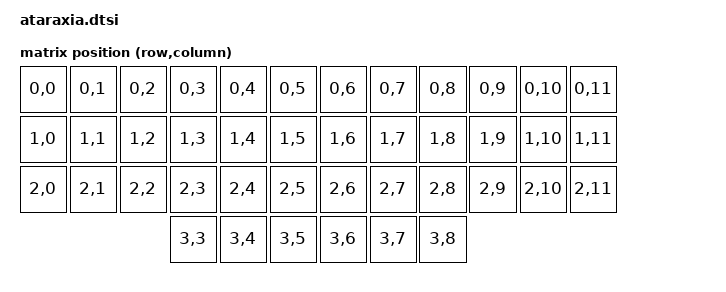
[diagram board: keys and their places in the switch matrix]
#include <dt-bindings/zmk/matrix_transform.h>
#include <physical_layouts.dtsi>
#include <input/processors.dtsi>

&spi1 {
	status = "okay";    
    compatible = "nordic,nrf-spim";
    pinctrl-0 = <&spi1_default>;
    pinctrl-1 = <&spi1_sleep>;
    pinctrl-names = "default", "sleep";

	cs-gpios = <&pro_micro 5 GPIO_ACTIVE_LOW>; // Pin 0.24 (pin 5) for CS (Chip Select), active low

	  shifter: 595@0 {
		    compatible = "zmk,gpio-595";
		    status = "okay";
		    gpio-controller;
		    spi-max-frequency = <200000>;
		    reg = <0>;
		    #gpio-cells = <2>;
		    ngpios = <8>;
    };
};


/ {
	chosen {
		zmk,physical-layout = &layout_ataraxia;
	};
   
	default_transform: keymap_transform_0 {
		compatible = "zmk,matrix-transform";
		columns = <12>;
		rows = <4>;
		
    map = <
    RC(0,0) RC(0,1) RC(0,2) RC(0,3) RC(0,4) RC(0,5) RC(0,6) RC(0,7) RC(0,8) RC(0,9) RC(0,10) RC(0,11)
    RC(1,0) RC(1,1) RC(1,2) RC(1,3) RC(1,4) RC(1,5) RC(1,6) RC(1,7) RC(1,8) RC(1,9) RC(1,10) RC(1,11)
    RC(2,0) RC(2,1) RC(2,2) RC(2,3) RC(2,4) RC(2,5) RC(2,6) RC(2,7) RC(2,8) RC(2,9) RC(2,10) RC(2,11)
                            RC(3,3) RC(3,4) RC(3,5) RC(3,6) RC(3,7) RC(3,8)
		>;
	};


	layout_ataraxia: layout_ataraxia {
		compatible = "zmk,physical-layout";
		display-name = "ataraxia";
		transform = <&default_transform>;
		kscan = <&default_kscan>;
		
        keys  //                     w   h    x    y     rot    rx    ry
            = <&key_physical_attrs 100 100    0    0       0     0     0>
            , <&key_physical_attrs 100 100  100    0       0     0     0>
            , <&key_physical_attrs 100 100  200    0       0     0     0>
            , <&key_physical_attrs 100 100  300    0       0     0     0>
            , <&key_physical_attrs 100 100  400    0       0     0     0>
            , <&key_physical_attrs 100 100  500    0       0     0     0>
            , <&key_physical_attrs 100 100  600    0       0     0     0>
            , <&key_physical_attrs 100 100  700    0       0     0     0>
            , <&key_physical_attrs 100 100  800    0       0     0     0>
            , <&key_physical_attrs 100 100  900    0       0     0     0>
            , <&key_physical_attrs 100 100 1000    0       0     0     0>
            , <&key_physical_attrs 100 100 1100    0       0     0     0>
            , <&key_physical_attrs 100 100    0  100       0     0     0>
            , <&key_physical_attrs 100 100  100  100       0     0     0>
            , <&key_physical_attrs 100 100  200  100       0     0     0>
            , <&key_physical_attrs 100 100  300  100       0     0     0>
            , <&key_physical_attrs 100 100  400  100       0     0     0>
            , <&key_physical_attrs 100 100  500  100       0     0     0>
            , <&key_physical_attrs 100 100  600  100       0     0     0>
            , <&key_physical_attrs 100 100  700  100       0     0     0>
            , <&key_physical_attrs 100 100  800  100       0     0     0>
            , <&key_physical_attrs 100 100  900  100       0     0     0>
            , <&key_physical_attrs 100 100 1000  100       0     0     0>
            , <&key_physical_attrs 100 100 1100  100       0     0     0>
            , <&key_physical_attrs 100 100    0  200       0     0     0>
            , <&key_physical_attrs 100 100  100  200       0     0     0>
            , <&key_physical_attrs 100 100  200  200       0     0     0>
            , <&key_physical_attrs 100 100  300  200       0     0     0>
            , <&key_physical_attrs 100 100  400  200       0     0     0>
            , <&key_physical_attrs 100 100  500  200       0     0     0>
            , <&key_physical_attrs 100 100  600  200       0     0     0>
            , <&key_physical_attrs 100 100  700  200       0     0     0>
            , <&key_physical_attrs 100 100  800  200       0     0     0>
            , <&key_physical_attrs 100 100  900  200       0     0     0>
            , <&key_physical_attrs 100 100 1000  200       0     0     0>
            , <&key_physical_attrs 100 100 1100  200       0     0     0>
            , <&key_physical_attrs 100 100  300  300       0     0     0>
            , <&key_physical_attrs 100 100  400  300       0     0     0>
            , <&key_physical_attrs 100 100  500  300       0     0     0>
            , <&key_physical_attrs 100 100  600  300       0     0     0>
            , <&key_physical_attrs 100 100  700  300       0     0     0>
            , <&key_physical_attrs 100 100  800  300       0     0     0>
            ;
    };

    position_map {
        compatible = "zmk,physical-layout-position-map";

        layout_ataraxia {
            physical-layout = <&layout_ataraxia>;
            positions
	    = < 0  1  2  3  4  5  6  7  8  9  10 11 >
	    , < 12 13 14 15 16 17 18 19 20 21 22 23 >
	    , < 24 25 26 27 28 29 30 31 32 33 34 35 >
	    , <          36 37 38 39 40 41          >
	    ;
        };
    };

   aliases {
      indicator-led = &user_led;
   };

   leds {
      compatible = "gpio-leds";
      status = "okay";
      user_led: led_0 {
        gpios = <&gpio1 06 GPIO_ACTIVE_LOW>;
      };
   };


};
